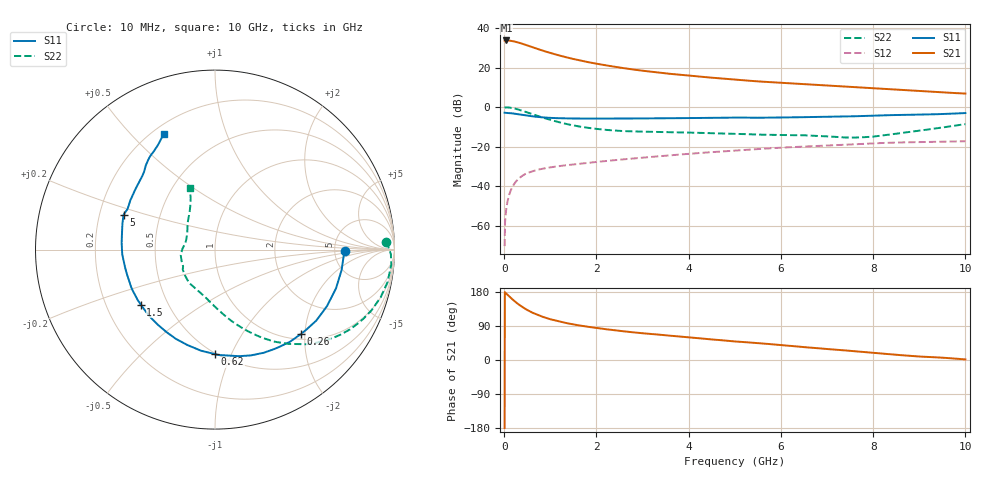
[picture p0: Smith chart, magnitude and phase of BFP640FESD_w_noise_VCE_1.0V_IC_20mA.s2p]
! Infineon Technologies  Discrete & RF Semiconductors
! BFP640FESD
! VCE =  1.0 V,  IC =  20 mA
! Common Emitter S-Parameters:  Jan 2016
# GHz  S  MA  R  50
!  f  S11  S21  S12  S22
! GHz  MAG  ANG  MAG  ANG  MAG  ANG  MAG  ANG
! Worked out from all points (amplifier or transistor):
!   233 points, 10 MHz to 10 GHz, reference 50 ohm
!   highest |S21| = 33.8 dB at 50 MHz (marker M1)
!   |S21| within 3 dB of that: start of sweep to 562.4 MHz
!   unconditionally stable (mu >= 1): start of sweep to 10.04892 MHz; 3.926 GHz to end of sweep
!   at 200 MHz: K = 0.10, MSG = 36.5 dB, |S12| = -39.6 dB
!   at 1.74 GHz: K = 0.74, MSG = 25.8 dB, |S12| = -28.5 dB
!   at 10 GHz: K = 1.11, MAG = 10.1 dB, |S12| = -17.3 dB
!   lowest NFmin = 0.88 dB at 450 MHz
!   S11 on the Smith chart (normalised r, x): 10 MHz: 6.18, -0.26; 260 MHz: 1.11, -1.91; 620 MHz: 0.49, -0.87; 1.5 GHz: 0.35, -0.29; 5 GHz: 0.30, +0.17; 10 GHz: 0.24, +0.62
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0.01  0.722 -0.8  48.38 -179.6  0.0003 126.5  0.9565 2.7
0.02  0.7168 -3.6  48.65 178.1  0.0012 93.8  0.9802 -1.5
0.05  0.7145 -9.2  48.75 174.7  0.0028 87.3  0.9856 -4.9
0.1  0.7079 -17.8  48.7 169.2  0.0055 82.4  0.9786 -10.6
0.15  0.699 -26.8  47.87 163.4  0.0081 77.7  0.9604 -16.1
0.26  0.6711 -44.5  44.74 151.8  0.0132 70.1  0.8988 -27.0
0.34  0.6499 -56.5  42.16 144.5  0.0163 65.5  0.8447 -34.1
0.4  0.6355 -64.8  40.08 139.5  0.0184 62.5  0.8026 -38.8
0.5  0.6088 -77.3  36.6 132.0  0.0212 58.3  0.733 -46.0
0.62  0.5822 -90.1  32.73 124.5  0.0239 54.6  0.6558 -52.9
0.8  0.5535 -106.1  27.79 115.4  0.0271 50.8  0.5587 -61.7
1  0.5334 -120.2  23.53 107.6  0.0297 48.5  0.4743 -69.7
1.2  0.5226 -131.2  20.22 101.3  0.0321 47.5  0.4106 -76.7
1.5  0.5143 -143.5  16.55 94.0  0.0353 47.2  0.3433 -85.6
1.68  0.5122 -149.6  14.89 90.2  0.0372 47.3  0.3153 -90.6
2.4  0.5101 -166.8  10.49 78.4  0.0453 48.2  0.2542 -108.5
3.4  0.5202 177.1  7.37 66.3  0.0573 48.5  0.235 -126.9
5  0.5451 159.2  4.962 49.0  0.0785 45.0  0.2112 -148.3
5.1  0.5433 158.4  4.863 48.2  0.0801 44.8  0.2091 -149.0
6.8  0.5618 140.2  3.617 31.1  0.1036 37.1  0.1855 -177.2
8.4  0.6266 126.1  2.815 14.8  0.1255 28.2  0.2046 138.5
10  0.7066 113.8  2.201 1.6  0.1362 18.6  0.3707 112.1
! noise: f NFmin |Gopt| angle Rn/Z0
0.45  0.88  0.04  -159  0.09
2.4  0.91  0.1  -167  0.09
5.5  1.14  0.24  -175  0.08
10  1.67  0.43  -111  0.25
